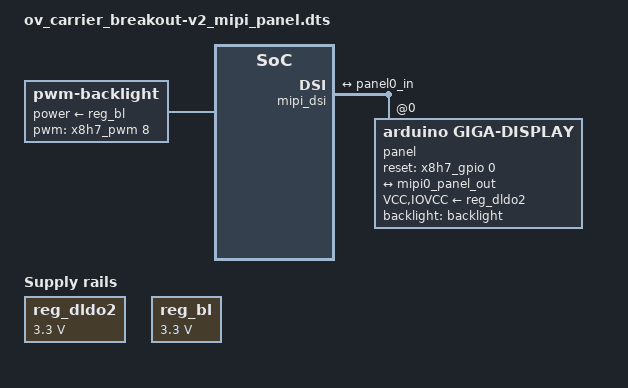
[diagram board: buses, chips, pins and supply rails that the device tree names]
/dts-v1/;
/plugin/;

#include "imx8mm-pinfunc.h"
#include <dt-bindings/gpio/gpio.h>

/ {
	fragment@0 {
		target-path = "/";
		__overlay__ {	
			reg_dldo2: reg-dldo2 {
				compatible = "regulator-fixed";
				regulator-name = "mipi_panel_reg";
				regulator-min-microvolt = <3300000>;
				regulator-max-microvolt = <3300000>;
				regulator-always-on;
			};

			reg_bl: reg-bl {
				compatible = "regulator-fixed";
				regulator-name = "mipi_panel_backlight";
				regulator-min-microvolt = <3300000>;
				regulator-max-microvolt = <3300000>;
				regulator-always-on;
			};
			
			backlight: backlight-gianni {
				compatible = "pwm-backlight";
				pwms = <&x8h7_pwm 8 100000 0>;
				power-supply = <&reg_bl>;
				brightness-levels = <0 11 20 30 40 50 60 70 80 90 100>;
				default-brightness-level = <9>;	/* => 90 */
			};
		};

	};

	fragment@1 {
		target = <&mipi_dsi>;
		__overlay__ {
			status = "okay";

			panel@0 {
				pinctrl-names = "default";
				compatible = "arduino,giga-display","sitronix,st7701";
				//pinctrl-0 = <&pinctrl_rst_display>;
				reg = <0>;
				VCC-supply = <&reg_dldo2>;
				IOVCC-supply = <&reg_dldo2>;
				//reset-gpios = <&gpio4 29 GPIO_ACTIVE_HIGH>;
				reset-gpios = <&x8h7_gpio 0 GPIO_ACTIVE_HIGH>;
				backlight = <&backlight>;
				dsi-lanes = <2>;
				video-mode = <2>;	/* 0: burst mode
									 * 1: non-burst mode with sync event
									 * 2: non-burst mode with sync pulse
									 */
				status = "okay";

				port {
					panel0_in: endpoint {
						remote-endpoint = <&mipi0_panel_out>;
					};
				};
			};

			port@1 {
				mipi0_panel_out: endpoint {
					attach-bridge;
					remote-endpoint = <&panel0_in>;
				};
			};
		};
	};
};
